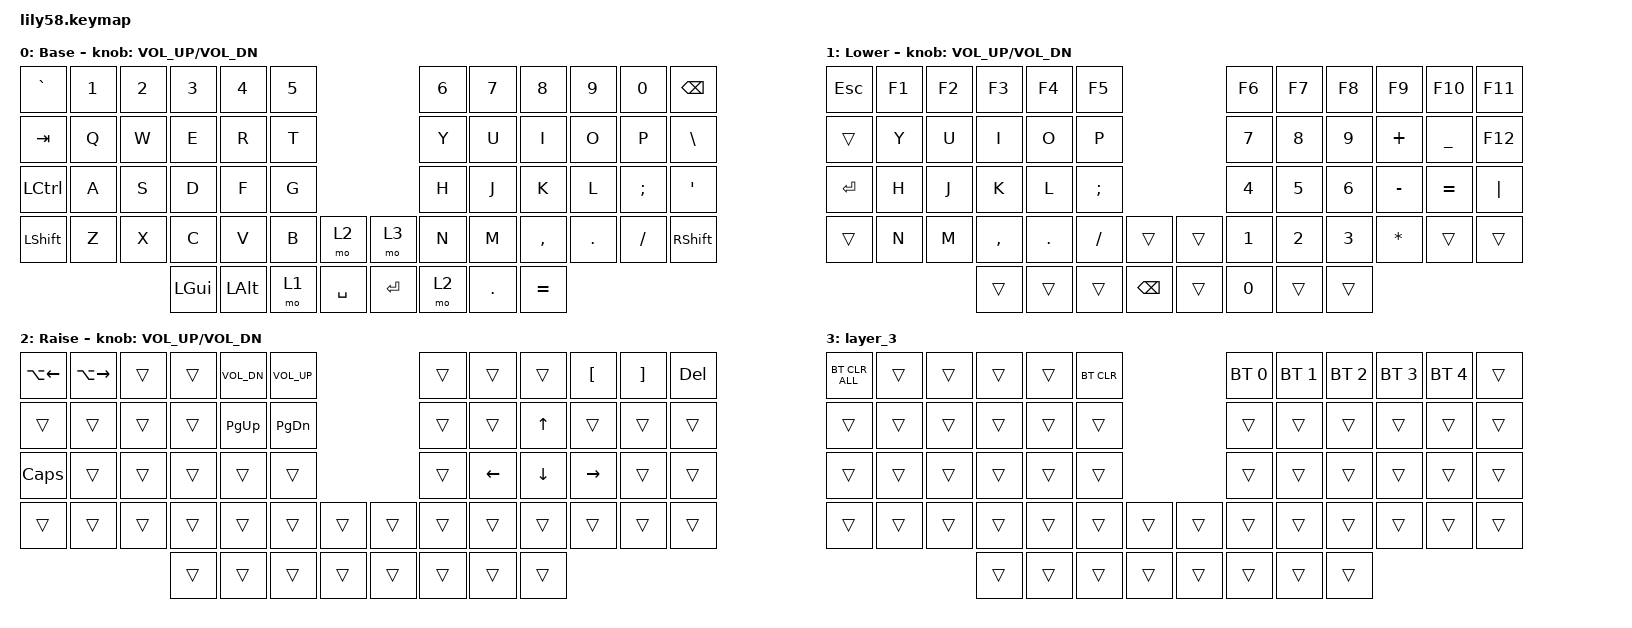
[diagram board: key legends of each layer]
/*
 * Copyright (c) 2020 The ZMK Contributors
 *
 * SPDX-License-Identifier: MIT
 */

#include <behaviors.dtsi>
#include <dt-bindings/zmk/bt.h>
#include <dt-bindings/zmk/keys.h>

/ {
    combos {
        compatible = "zmk,combos";

        pg_down {
            bindings = <&kp PG_DN>;
            key-positions = <28 27>;
            timeout-ms = <100>;
        };

        pg_up {
            bindings = <&kp PG_UP>;
            key-positions = <16 15>;
            timeout-ms = <100>;
        };
    };

    keymap {
        compatible = "zmk,keymap";

        default_layer {
            // ------------------------------------------------------------------------------------------------------------
            // |  ESC  |  1  |  2  |  3   |  4   |  5   |                   |  6   |  7    |  8    |  9   |   0   |   `   |
            // |  TAB  |  Q  |  W  |  E   |  R   |  T   |                   |  Y   |  U    |  I    |  O   |   P   |   -   |
            // |  CTRL |  A  |  S  |  D   |  F   |  G   |                   |  H   |  J    |  K    |  L   |   ;   |   '   |
            // | SHIFT |  Z  |  X  |  C   |  V   |  B   |   "["  |  |  "]"  |  N   |  M    |  ,    |  .   |   /   | SHIFT |
            //                     | ALT  | GUI  | LOWER|  SPACE |  | ENTER | RAISE| BSPC  | GUI   |

            display-name = "Base";
            bindings = <
&kp GRAVE  &kp N1  &kp N2  &kp N3        &kp N4        &kp N5                        &kp N6  &kp N7   &kp N8     &kp N9   &kp N0    &kp BACKSPACE
&kp TAB    &kp Q   &kp W   &kp E         &kp R         &kp T                         &kp Y   &kp U    &kp I      &kp O    &kp P     &kp BACKSLASH
&kp LCTRL  &kp A   &kp S   &kp D         &kp F         &kp G                         &kp H   &kp J    &kp K      &kp L    &kp SEMI  &kp SQT
&kp LSHFT  &kp Z   &kp X   &kp C         &kp V         &kp B   &mo 2        &mo 3    &kp N   &kp M    &kp COMMA  &kp DOT  &kp FSLH  &kp RSHFT
                           &kp LEFT_GUI  &kp LEFT_ALT  &mo 1   &kp SPACE    &kp RET  &mo 2   &kp DOT  &kp EQUAL
            >;

            sensor-bindings = <&inc_dec_kp C_VOL_UP C_VOL_DN>;
        };

        lower_layer {
            // ------------------------------------------------------------------------------------------------------------
            // | BTCLR | BT1 | BT2 |  BT3 |  BT4 |  BT5 |                   |      |       |       |      |       |       |
            // |  F1   |  F2 |  F3 |  F4  |  F5  |  F6  |                   |  F7  |  F8   |  F9   |  F10 |  F11  |  F12  |
            // |   `   |  !  |  @  |  #   |  $   |  %   |                   |  ^   |  &    |  *    |  (   |   )   |   ~   |
            // |       |     |     |      |      |      |        |  |       |      |  _    |  +    |  {   |   }   |  "|"  |
            //                     |      |      |      |        |  |       |      |       |       |

            display-name = "Lower";
            bindings = <
&kp ESCAPE  &kp F1  &kp F2  &kp F3     &kp F4      &kp F5                                  &kp F6        &kp F7        &kp F8        &kp F9     &kp F10    &kp F11
&trans      &kp Y   &kp U   &kp I      &kp O       &kp P                                   &kp NUMBER_7  &kp NUMBER_8  &kp NUMBER_9  &kp PLUS   &kp UNDER  &kp F12
&kp ENTER   &kp H   &kp J   &kp K      &kp L       &kp SEMICOLON                           &kp NUMBER_4  &kp NUMBER_5  &kp NUMBER_6  &kp MINUS  &kp EQUAL  &kp PIPE
&trans      &kp N   &kp M   &kp COMMA  &kp PERIOD  &kp SLASH      &trans           &trans  &kp NUMBER_1  &kp NUMBER_2  &kp NUMBER_3  &kp STAR   &trans     &trans
                            &trans     &trans      &trans         &kp BACKSPACE    &trans  &kp NUMBER_0  &trans        &trans
            >;

            sensor-bindings = <&inc_dec_kp C_VOL_UP C_VOL_DN>;
        };

        raise_layer {
            // ------------------------------------------------------------------------------------------------------------
            // |       |     |     |      |      |      |                   |      |       |       |      |       |       |
            // |   `   |  1  |  2  |  3   |  4   |  5   |                   |  6   |   7   |   8   |  9   |   0   |       |
            // |   F1  |  F2 |  F3 |  F4  |  F5  |  F6  |                   |      |   <-  |   v   |  ^   |  ->   |       |
            // |   F7  |  F8 |  F9 |  F10 |  F11 |  F12 |        |  |       |  +   |   -   |   =   |  [   |   ]   |   \   |
            //                     |      |      |      |        |  |       |      |       |       |

            display-name = "Raise";
            bindings = <
&kp LA(LEFT_ARROW)  &kp LA(RIGHT_ARROW)  &trans  &trans  &kp C_VOL_DN  &kp C_VOL_UP                     &trans  &trans    &trans        &kp LEFT_BRACKET  &kp RIGHT_BRACKET  &kp DELETE
&trans              &trans               &trans  &trans  &kp PAGE_UP   &kp PAGE_DOWN                    &trans  &trans    &kp UP_ARROW  &trans            &trans             &trans
&kp CAPSLOCK        &trans               &trans  &trans  &trans        &trans                           &trans  &kp LEFT  &kp DOWN      &kp RIGHT         &trans             &trans
&trans              &trans               &trans  &trans  &trans        &trans         &trans    &trans  &trans  &trans    &trans        &trans            &trans             &trans
                                                 &trans  &trans        &trans         &trans    &trans  &trans  &trans    &trans
            >;

            sensor-bindings = <&inc_dec_kp C_VOL_UP C_VOL_DN>;
        };

        layer_3 {
            bindings = <
&bt BT_CLR_ALL  &trans  &trans  &trans  &trans  &bt BT_CLR                    &bt BT_SEL 0  &bt BT_SEL 1  &bt BT_SEL 2  &bt BT_SEL 3  &bt BT_SEL 4  &trans
&trans          &trans  &trans  &trans  &trans  &trans                        &trans        &trans        &trans        &trans        &trans        &trans
&trans          &trans  &trans  &trans  &trans  &trans                        &trans        &trans        &trans        &trans        &trans        &trans
&trans          &trans  &trans  &trans  &trans  &trans      &trans    &trans  &trans        &trans        &trans        &trans        &trans        &trans
                                &trans  &trans  &trans      &trans    &trans  &trans        &trans        &trans
            >;
        };
    };
};
